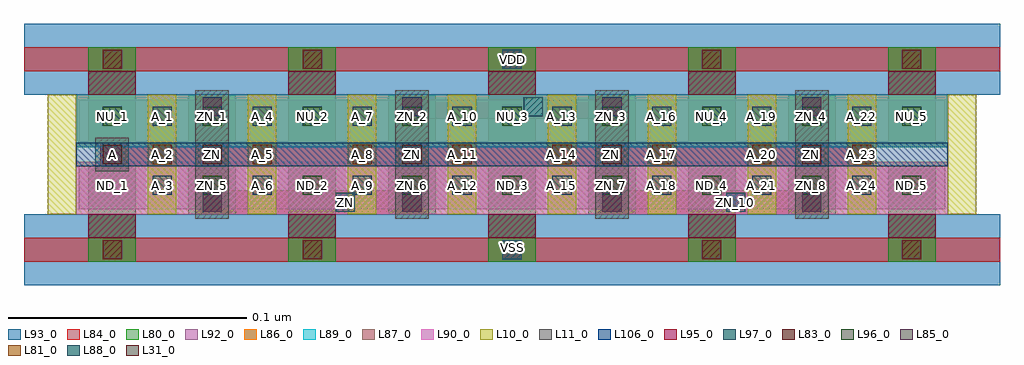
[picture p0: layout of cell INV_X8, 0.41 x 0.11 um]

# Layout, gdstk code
import gdstk
lib = gdstk.Library(unit=1e-6, precision=1e-09)
def R(c, l, rs):  # rectangles x0, y0, x1, y1
    for r in rs: c.add(gdstk.rectangle(r[:2], r[2:], *l))
def A(c, l, x, y, w, h, nx, ny, dx, dy):  # array of equal rectangles
    R(c, l, [(x+i*dx, y+j*dy, x+i*dx+w, y+j*dy+h) for i in range(nx) for j in range(ny)])
L10_0 = (10, 0)
L11_0 = (11, 0)
L31_0 = (31, 0)
L80_0 = (80, 0)
L81_0 = (81, 0)
L83_0 = (83, 0)
L84_0 = (84, 0)
L85_0 = (85, 0)
L86_0 = (86, 0)
L87_0 = (87, 0)
L88_0 = (88, 0)
L89_0 = (89, 0)
L90_0 = (90, 0)
L92_0 = (92, 0)
L93_0 = (93, 0)
L95_0 = (95, 0)
L96_0 = (96, 0)
L97_0 = (97, 0)
L106_0 = (106, 0)

inv_x8 = lib.new_cell('INV_X8')
A(inv_x8, L10_0, -0.027, 0.015, 0.012, 0.05, 10, 1, 0.042, 0)
A(inv_x8, L11_0, 0.035, 0.013, 0.014, 0.034, 4, 2, 0.084, 0.02)
R(inv_x8, L11_0, [(-0.007,0.033,0.007,0.047)])
A(inv_x8, L31_0, 0.038, 0.036, 0.008, 0.008, 4, 1, 0.084, 0)
R(inv_x8, L31_0, [(-0.004,0.036,0.004,0.044)])
A(inv_x8, L80_0, -0.01, -0.005, 0.02, 0.021, 5, 1, 0.084, 0)
A(inv_x8, L80_0, -0.01, 0.015, 0.02, 0.02, 9, 1, 0.042, 0)
A(inv_x8, L80_0, -0.01, 0.056, 0.02, 0.029, 5, 1, 0.084, 0)
R(inv_x8, L80_0, [(-0.01,0.045,0.01,0.065), (-0.01,0.045,0.01,0.065), (0.032,0.045,0.052,0.065), (0.032,0.045,0.052,0.065), (0.074,0.045,0.094,0.065), (0.074,0.045,0.094,0.065), (0.116,0.045,0.136,0.065), (0.116,0.045,0.136,0.065), (0.158,0.045,0.178,0.065), (0.158,0.045,0.178,0.065), (0.2,0.045,0.22,0.065), (0.2,0.045,0.22,0.065), (0.242,0.045,0.262,0.065), (0.242,0.045,0.262,0.065), (0.284,0.045,0.304,0.065), (0.284,0.045,0.304,0.065), (0.326,0.045,0.346,0.065), (0.326,0.045,0.346,0.065)])
A(inv_x8, L81_0, 0.017, 0.036, 0.008, 0.008, 8, 1, 0.042, 0)
A(inv_x8, L83_0, -0.004, -0.004, 0.008, 0.008, 5, 2, 0.084, 0.08)
A(inv_x8, L83_0, 0.038, 0.016, 0.008, 0.008, 4, 2, 0.084, 0.04)
A(inv_x8, L84_0, 0.037, 0.015, 0.031, 0.01, 4, 1, 0.021, 0)
A(inv_x8, L84_0, 0.205, 0.015, 0.031, 0.01, 4, 1, 0.021, 0)
A(inv_x8, L84_0, 0.037, 0.035, 0.031, 0.01, 13, 1, 0.021, 0)
A(inv_x8, L84_0, 0.121, 0.055, 0.031, 0.01, 4, 1, 0.021, 0)
R(inv_x8, L84_0, [(-0.037,-0.005,0.373,0.005), (-0.005,0.035,0.047,0.045), (0.037,0.055,0.047,0.065), (0.289,0.055,0.299,0.065), (-0.037,0.075,0.373,0.085)])
A(inv_x8, L85_0, 0.038, 0.016, 0.008, 0.008, 4, 2, 0.084, 0.04)
R(inv_x8, L85_0, [(-0.004,0.036,0.004,0.044)])
R(inv_x8, L86_0, [(-0.015,0.043,0.351,0.065)])
R(inv_x8, L87_0, [(-0.015,0.015,0.351,0.037)])
R(inv_x8, L88_0, [(0.164,-0.004,0.172,0.004), (0.094,0.016,0.102,0.024), (0.258,0.016,0.266,0.024), (0.173,0.056,0.181,0.064), (0.164,0.076,0.172,0.084)])
R(inv_x8, L89_0, [(-0.015,0.043,0.351,0.065)])
R(inv_x8, L90_0, [(-0.015,0.015,0.351,0.037)])
R(inv_x8, L92_0, [(-0.014,0.017,0.35,0.035), (-0.014,0.045,0.35,0.063)])
R(inv_x8, L93_0, [(-0.037,-0.015,0.373,0.015), (-0.037,0.065,0.373,0.095)])
A(inv_x8, L95_0, -0.01, 0.005, 0.02, 0.01, 5, 2, 0.084, 0.06)
A(inv_x8, L96_0, 0.038, 0.023, 0.008, 0.008, 8, 1, 0.042, 0)
A(inv_x8, L96_0, -0.004, 0.052, 0.008, 0.008, 9, 1, 0.042, 0)
A(inv_x8, L97_0, 0.017, 0.023, 0.008, 0.008, 8, 2, 0.042, 0.013)
A(inv_x8, L97_0, 0.017, 0.052, 0.008, 0.008, 8, 1, 0.042, 0)
R(inv_x8, L106_0, [(-0.015,0.035,0.351,0.045)])
inv_x8.add(gdstk.Label('ZN_4', (0.294,0.056), layer=96, texttype=0))
inv_x8.add(gdstk.Label('NU_5', (0.336,0.056), layer=96, texttype=0))
inv_x8.add(gdstk.Label('NU_4', (0.252,0.056), layer=96, texttype=0))
inv_x8.add(gdstk.Label('ZN_3', (0.21,0.056), layer=96, texttype=0))
inv_x8.add(gdstk.Label('ZN_8', (0.294,0.027), layer=96, texttype=0))
inv_x8.add(gdstk.Label('ND_5', (0.336,0.027), layer=96, texttype=0))
inv_x8.add(gdstk.Label('ND_4', (0.252,0.027), layer=96, texttype=0))
inv_x8.add(gdstk.Label('ZN_7', (0.21,0.027), layer=96, texttype=0))
inv_x8.add(gdstk.Label('ZN_2', (0.126,0.056), layer=96, texttype=0))
inv_x8.add(gdstk.Label('NU_3', (0.168,0.056), layer=96, texttype=0))
inv_x8.add(gdstk.Label('NU_2', (0.084,0.056), layer=96, texttype=0))
inv_x8.add(gdstk.Label('ZN_1', (0.042,0.056), layer=96, texttype=0))
inv_x8.add(gdstk.Label('NU_1', (0,0.056), layer=96, texttype=0))
inv_x8.add(gdstk.Label('ZN_6', (0.126,0.027), layer=96, texttype=0))
inv_x8.add(gdstk.Label('ND_3', (0.168,0.027), layer=96, texttype=0))
inv_x8.add(gdstk.Label('ND_2', (0.084,0.027), layer=96, texttype=0))
inv_x8.add(gdstk.Label('ZN_5', (0.042,0.027), layer=96, texttype=0))
inv_x8.add(gdstk.Label('ND_1', (0,0.027), layer=96, texttype=0))
inv_x8.add(gdstk.Label('ZN_10', (0.262,0.02), layer=88, texttype=0))
inv_x8.add(gdstk.Label('ZN_9', (0.177,0.06), layer=88, texttype=0))
inv_x8.add(gdstk.Label('ZN', (0.098,0.02), layer=88, texttype=0))
inv_x8.add(gdstk.Label('VSS', (0.168,0.001), layer=88, texttype=0))
inv_x8.add(gdstk.Label('VDD', (0.168,0.08), layer=88, texttype=0))
inv_x8.add(gdstk.Label('A_15', (0.189,0.027), layer=97, texttype=0))
inv_x8.add(gdstk.Label('A_14', (0.189,0.04), layer=97, texttype=0))
inv_x8.add(gdstk.Label('A_13', (0.189,0.056), layer=97, texttype=0))
inv_x8.add(gdstk.Label('A_18', (0.231,0.027), layer=97, texttype=0))
inv_x8.add(gdstk.Label('A_17', (0.231,0.04), layer=97, texttype=0))
inv_x8.add(gdstk.Label('A_16', (0.231,0.056), layer=97, texttype=0))
inv_x8.add(gdstk.Label('A_22', (0.315,0.056), layer=97, texttype=0))
inv_x8.add(gdstk.Label('A_23', (0.315,0.04), layer=97, texttype=0))
inv_x8.add(gdstk.Label('A_24', (0.315,0.027), layer=97, texttype=0))
inv_x8.add(gdstk.Label('A_19', (0.273,0.056), layer=97, texttype=0))
inv_x8.add(gdstk.Label('A_20', (0.273,0.04), layer=97, texttype=0))
inv_x8.add(gdstk.Label('A_21', (0.273,0.027), layer=97, texttype=0))
inv_x8.add(gdstk.Label('A_9', (0.105,0.027), layer=97, texttype=0))
inv_x8.add(gdstk.Label('A_8', (0.105,0.04), layer=97, texttype=0))
inv_x8.add(gdstk.Label('A_7', (0.105,0.056), layer=97, texttype=0))
inv_x8.add(gdstk.Label('A_12', (0.147,0.027), layer=97, texttype=0))
inv_x8.add(gdstk.Label('A_11', (0.147,0.04), layer=97, texttype=0))
inv_x8.add(gdstk.Label('A_10', (0.147,0.056), layer=97, texttype=0))
inv_x8.add(gdstk.Label('A_4', (0.063,0.056), layer=97, texttype=0))
inv_x8.add(gdstk.Label('A_5', (0.063,0.04), layer=97, texttype=0))
inv_x8.add(gdstk.Label('A_6', (0.063,0.027), layer=97, texttype=0))
inv_x8.add(gdstk.Label('A_1', (0.021,0.056), layer=97, texttype=0))
inv_x8.add(gdstk.Label('A_2', (0.021,0.04), layer=97, texttype=0))
inv_x8.add(gdstk.Label('A_3', (0.021,0.027), layer=97, texttype=0))
inv_x8.add(gdstk.Label('A', (0,0.04), layer=31, texttype=0))
inv_x8.add(gdstk.Label('ZN', (0.042,0.04), layer=31, texttype=0))
inv_x8.add(gdstk.Label('ZN', (0.126,0.04), layer=31, texttype=0))
inv_x8.add(gdstk.Label('ZN', (0.21,0.04), layer=31, texttype=0))
inv_x8.add(gdstk.Label('ZN', (0.294,0.04), layer=31, texttype=0))

lib.write_gds('INV_X8.gds')
